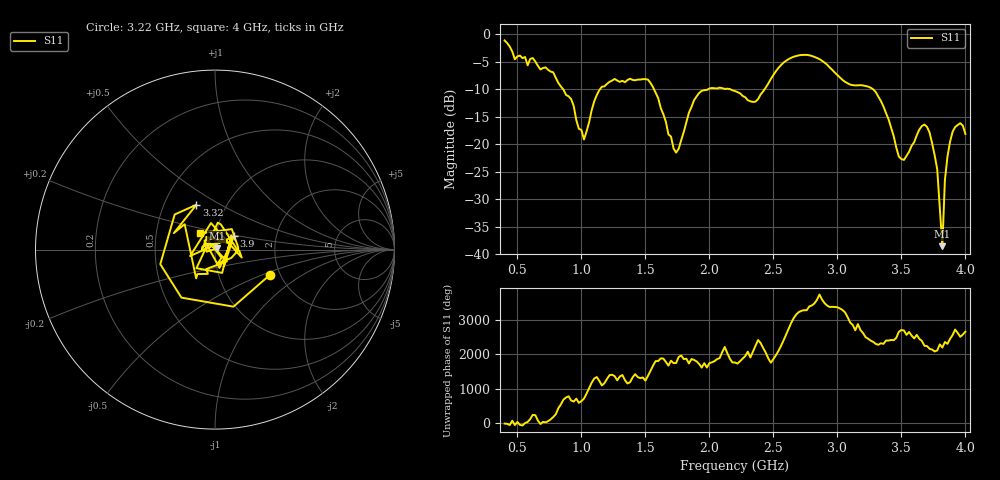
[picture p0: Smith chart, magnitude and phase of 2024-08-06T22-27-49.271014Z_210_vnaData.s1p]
!Created with skrf (http://scikit-rf.org).
# Hz S RI R 50.0
!freq ReS11 ImS11
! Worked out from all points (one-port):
!   181 points, 400 MHz to 4 GHz, reference 50 ohm
!   lowest |S11| = -38.5 dB at 3.82 GHz (marker M1), VSWR 1.02, Z = 51 + j0.666 ohm
!   |S11| at or under -10 dB: 857.3 MHz to 1.145 GHz (287.8 MHz wide, 28.7 % of centre); 1.567 GHz to 1.99 GHz (422.4 MHz wide, 23.8 % of centre); 3.279 GHz to end of sweep (the widest 3 of 4)
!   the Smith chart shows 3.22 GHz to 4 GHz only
!   S11 on the Smith chart (normalised r, x): 3.22 GHz: 1.78, -0.56; 3.32 GHz: 0.72, +0.39; 3.9 GHz: 1.22, +0.18; 4 GHz: 0.83, +0.15
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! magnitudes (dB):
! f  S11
! 400 MHz  -1.1
! 480 MHz  -4.6
! 620 MHz  -4.3
! 860 MHz  -10.1
! 1.02 GHz  -19.1
! 1.14 GHz  -10.2
! 1.3 GHz  -8.7
! 1.52 GHz  -8.3
! 1.72 GHz  -20.8
! 1.76 GHz  -20.8
! 1.92 GHz  -10.7
! 2.2 GHz  -10.3
! 2.36 GHz  -12.3
! 2.66 GHz  -4.1
! 2.86 GHz  -4.5
! 3.1 GHz  -9.2
! 3.22 GHz  -9.4
! 3.32 GHz  -11.4
! 3.48 GHz  -22.2
! 3.56 GHz  -21.4
! 3.66 GHz  -16.7
! 3.72 GHz  -17.9
! 3.78 GHz  -24.6
! 3.82 GHz  -38.5
! 3.84 GHz  -26.5
! 3.9 GHz  -17.7
! 3.96 GHz  -16.2
! 4 GHz  -18.1
